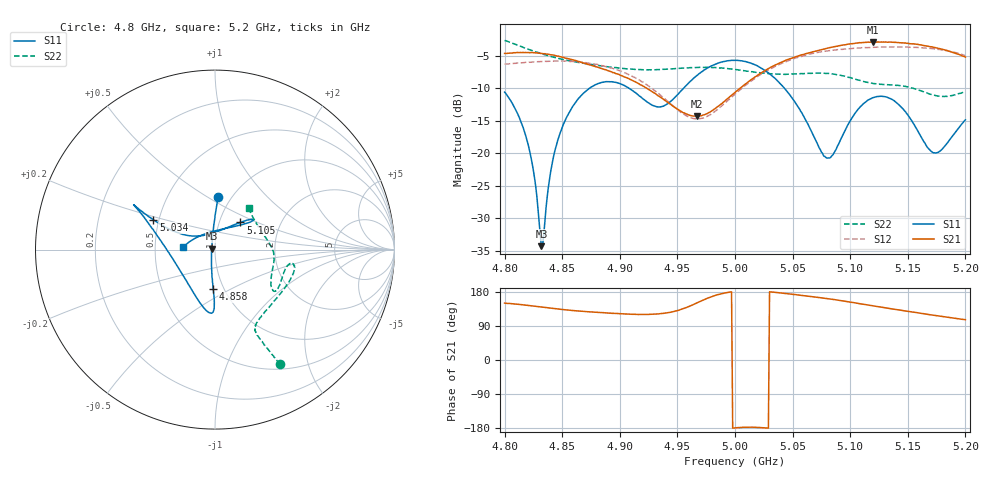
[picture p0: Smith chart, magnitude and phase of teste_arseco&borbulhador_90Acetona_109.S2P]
! Network Analyzer HP8722D
! Hewlett-Packard
! Data name: Linha & Wilkinson
! Saver's name: Rodrigo Anjos
! Comments: Teste da utilização de aquisição
! continua pelo VNA HP8722D
! Time and date: 17/4/2025 11:57
!  Frequency  S11  S21  S12  S22
# HZ  S  MA R 50
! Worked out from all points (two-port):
!   401 points, 4.8 GHz to 5.2 GHz, reference 50 ohm
!   highest |S21| = -2.91 dB at 5.12 GHz (marker M1); lowest = -14.3 dB at 4.967 GHz (marker M2)
!   |S21| within 3 dB of the highest: start of sweep to 4.864 GHz; 5.042 GHz to end of sweep
!   lowest |S11| = -34.3 dB at 4.832 GHz (marker M3), VSWR 1.04, Z = 48.2 + j0.51 ohm
!   |S11| at or under -10 dB: start of sweep to 4.874 GHz; 4.908 GHz to 4.955 GHz (47.65 MHz wide, 0.966 % of centre); 5.043 GHz to end of sweep
!   |S22| runs from -11.3 to -2.7 dB; largest |S21 - S12| = 1.3
!   S11 on the Smith chart (normalised r, x): 4.8 GHz: 0.87, +0.56; 4.858 GHz: 0.89, -0.41; 5.034 GHz: 0.47, +0.18; 5.105 GHz: 1.26, +0.40; 5.2 GHz: 0.69, +0.02
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4.8e9  0.2948 86.5  0.5842 150.1  0.4837 -111.7  0.7342 -60.3
4.811e9  0.2038 89.1  0.5937 147.2  0.4933 -111.4  0.6765 -61.2
4.82e9  0.1205 94.0  0.5924 144.3  0.4988 -110.9  0.6317 -61.9
4.826e9  0.06445 103.0  0.5918 141.8  0.5032 -110.6  0.6052 -62.4
4.832e9  0.01935 164.1  0.5837 139.7  0.5057 -110.0  0.5814 -62.9
4.834e9  0.02371 -145.2  0.58 138.9  0.5064 -110.0  0.5734 -63.1
4.838e9  0.055 -111.2  0.5761 137.3  0.5073 -109.6  0.5597 -63.2
4.843e9  0.09912 -101.0  0.5648 135.5  0.5099 -109.4  0.5451 -63.4
4.858e9  0.2202 -92.5  0.5252 130.9  0.507 -109.1  0.5097 -63.7
4.867e9  0.28 -90.8  0.4967 128.5  0.501 -109.4  0.4929 -63.1
4.898e9  0.3468 -97.0  0.4061 122.7  0.4355 -113.1  0.4527 -55.2
4.934e9  0.2269 -148.4  0.274 121.7  0.2858 -116.0  0.4384 -34.7
4.967e9  0.3965 158.7  0.1921 150.9  0.1832 -85.4  0.4553 -17.4
5e9  0.5173 151.2  0.293 -179.2  0.2846 -49.4  0.4392 -10.2
5.034e9  0.3811 154.1  0.4707 178.7  0.4603 -44.1  0.4059 -16.0
5.067e9  0.1436 148.2  0.5989 167.2  0.583 -47.5  0.4109 -30.1
5.082e9  0.09187 99.9  0.6464 161.2  0.613 -50.4  0.4083 -34.4
5.105e9  0.2071 47.1  0.7007 150.3  0.6407 -55.4  0.369 -32.2
5.12e9  0.2673 39.4  0.7157 142.8  0.6505 -59.9  0.3429 -23.0
5.134e9  0.2648 37.3  0.7119 136.0  0.6532 -64.5  0.3354 -12.4
5.173e9  0.1008 102.8  0.6493 117.9  0.6318 -78.1  0.279 20.8
5.2e9  0.1805 175.8  0.5467 106.3  0.5613 -87.3  0.2966 50.9
